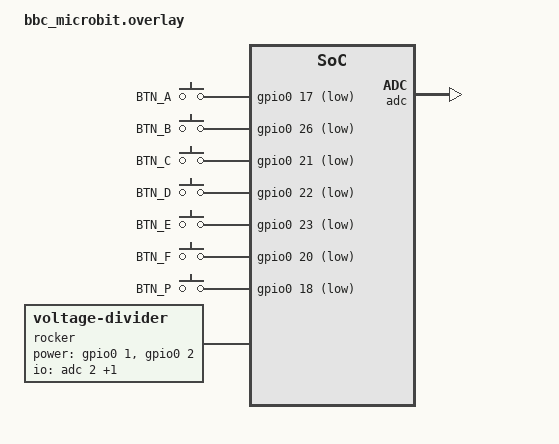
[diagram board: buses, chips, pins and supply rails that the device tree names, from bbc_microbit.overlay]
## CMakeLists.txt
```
# SPDX-License-Identifier: Apache-2.0

cmake_minimum_required(VERSION 3.13.1)
include($ENV{ZEPHYR_BASE}/cmake/app/boilerplate.cmake NO_POLICY_SCOPE)
project(peripheral)

target_sources(app PRIVATE
  src/main.c
  src/hid.c
  src/board.c
)

zephyr_library_include_directories($ENV{ZEPHYR_BASE}/samples/bluetooth)
```

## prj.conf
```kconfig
# Incresed stack due to settings API usage
CONFIG_SYSTEM_WORKQUEUE_STACK_SIZE=2048

CONFIG_LOG_STRDUP_MAX_STRING=50
CONFIG_LOG_STRDUP_BUF_COUNT=16
CONFIG_LOG_BUFFER_SIZE=2048

CONFIG_BT=y
CONFIG_BT_DEBUG_LOG=y
CONFIG_BT_SMP=y
CONFIG_BT_SIGNING=y
CONFIG_BT_PERIPHERAL=y
CONFIG_BT_DIS=y
CONFIG_BT_BAS=y
CONFIG_BT_ATT_PREPARE_COUNT=5
CONFIG_BT_PRIVACY=y
CONFIG_BT_DEVICE_NAME="Peripheral"
CONFIG_BT_DEVICE_APPEARANCE=833
CONFIG_BT_DEVICE_NAME_DYNAMIC=y
CONFIG_BT_DEVICE_NAME_MAX=65
CONFIG_BT_SETTINGS=y

CONFIG_FLASH=y
CONFIG_FLASH_PAGE_LAYOUT=y
CONFIG_FLASH_MAP=y
CONFIG_FCB=y
CONFIG_SETTINGS=y
CONFIG_SETTINGS_FCB=y
```

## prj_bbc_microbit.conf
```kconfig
CONFIG_ISR_STACK_SIZE=768
CONFIG_MAIN_STACK_SIZE=512
CONFIG_SYSTEM_WORKQUEUE_STACK_SIZE=2048
CONFIG_GPIO=y
CONFIG_DISPLAY=y
CONFIG_MICROBIT_DISPLAY=y
CONFIG_PWM=y
CONFIG_PWM_NRF5_SW=y
CONFIG_ADC=y
CONFIG_ADC_NRFX_ADC_CHANNEL_COUNT=2

CONFIG_BT=y
CONFIG_BT_SMP=n
CONFIG_BT_PERIPHERAL=y
CONFIG_BT_DIS=y
CONFIG_BT_BAS=y
CONFIG_BT_ATT_PREPARE_COUNT=0
CONFIG_BT_PRIVACY=n
CONFIG_BT_DEVICE_NAME="Joystick"
CONFIG_BT_DEVICE_APPEARANCE=963
CONFIG_BT_L2CAP_TX_BUF_COUNT=5
CONFIG_BT_SETTINGS=n
CONFIG_BT_PHY_UPDATE=n
CONFIG_BT_DATA_LEN_UPDATE=n
CONFIG_BT_CTLR_LE_ENC=n
CONFIG_BT_CTLR_LE_PING=n
CONFIG_BT_CTLR_CHAN_SEL_2=n
CONFIG_BT_CTLR_MIN_USED_CHAN=n
CONFIG_BT_CTLR_ADV_EXT=n
CONFIG_BT_CTLR_PRIVACY=n

CONFIG_FLASH=y
CONFIG_FLASH_PAGE_LAYOUT=y
CONFIG_FLASH_MAP=y
CONFIG_NVS=y
CONFIG_SETTINGS=y
```

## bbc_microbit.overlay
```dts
/ {
	gpio_keys {
		compatible = "gpio-keys";
		buttonA: button_0 {
			label = "BTN_A";
			gpios = <&gpio0 17 GPIO_ACTIVE_LOW>;
		};
		buttonB: button_1 {
			label = "BTN_B";
			gpios = <&gpio0 26 GPIO_ACTIVE_LOW>;
		};
		buttonC: button_2 {
			label = "BTN_C";
			gpios = <&gpio0 21 GPIO_ACTIVE_LOW>;
		};
		buttonD: button_3 {
			label = "BTN_D";
			gpios = <&gpio0 22 GPIO_ACTIVE_LOW>;
		};
		buttonE: button_4 {
			label = "BTN_E";
			gpios = <&gpio0 23 GPIO_ACTIVE_LOW>;
		};
		buttonF: button_5 {
			label = "BTN_F";
			gpios = <&gpio0 20 GPIO_ACTIVE_LOW>;
		};
		buttonP: button_6 {
			label = "BTN_P";
			gpios = <&gpio0 18 GPIO_ACTIVE_LOW>;
		};
	};

	rocker {
		compatible = "voltage-divider";
		io-channels = <&adc 2>, <&adc 3>;
		power-gpios = <&gpio0 1 0>, <&gpio0 2 0>;
		output-ohms = <180000>;
		full-ohms = <(1500000 + 180000)>;
	};

	aliases {
		sw0 = &buttonA;
		sw1 = &buttonB;
		sw2 = &buttonC;
		sw3 = &buttonD;
		sw4 = &buttonE;
		sw5 = &buttonF;
		sw6 = &buttonP;
	};
};

&adc {
	status = "okay";
};
```

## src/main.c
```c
/* main.c - Application main entry point */

/*
 * Copyright (c) 2015-2016 Intel Corporation
 *
 * SPDX-License-Identifier: Apache-2.0
 */

#include <zephyr/types.h>
#include <stddef.h>
#include <string.h>
#include <errno.h>
#include <sys/printk.h>
#include <sys/byteorder.h>
#include <zephyr.h>

#include <settings/settings.h>

#include <bluetooth/bluetooth.h>
#include <bluetooth/hci.h>
#include <bluetooth/conn.h>
#include <bluetooth/uuid.h>
#include <bluetooth/gatt.h>

#include "main.h"
#include "hid.h"
#include "board.h"

static void connected(struct bt_conn *conn, uint8_t err)
{
	int ret;
	char addr[BT_ADDR_LE_STR_LEN];
	struct bt_le_conn_param param = {
		.interval_min = 12,
		.interval_max = 16,
		.latency = 0,
		.timeout = 500,
	};

	if (err) {
		LOG_ERROR("Connection failed (err %u)", err);
		return;
	}

	bt_addr_le_to_str(bt_conn_get_dst(conn), addr, sizeof(addr));
	LOG_INFO("Connect index %u, address %s", bt_conn_index(conn), addr);
	hid_reset();

	ret = bt_conn_le_param_update(conn, &param);
	if (ret) {
		LOG_ERROR("Update parameter failed (err %d)", ret);
		return;
	}
}

static void disconnected(struct bt_conn *conn, uint8_t reason)
{
	LOG_INFO("Disconnect index %u (reason %u)", bt_conn_index(conn), reason);
}

static void param_updated(struct bt_conn *conn, uint16_t interval,
						uint16_t latency, uint16_t timeout)
{
	LOG_INFO("LE conn %d param updated: interval %d, timeout %d, latency %d",
			bt_conn_index(conn), interval, timeout, latency);
}

static void button_callback(button_t button, action_t action)
{
	switch (button) {
		case BOARD_BUTTON_KEY_A:
			LOG_INFO("Button A %s at %u", (BUTTON_ACTION_PREASSED == action) ? "pressed" : "released", k_cycle_get_32());
			break;
		case BOARD_BUTTON_KEY_B:
			LOG_INFO("Button B %s at %u", (BUTTON_ACTION_PREASSED == action) ? "pressed" : "released", k_cycle_get_32());
			break;
		case BOARD_BUTTON_KEY_C:
			LOG_INFO("Button C %s at %u", (BUTTON_ACTION_PREASSED == action) ? "pressed" : "released", k_cycle_get_32());
			break;
		case BOARD_BUTTON_KEY_D:
			LOG_INFO("Button D %s at %u", (BUTTON_ACTION_PREASSED == action) ? "pressed" : "released", k_cycle_get_32());
			break;
		case BOARD_BUTTON_KEY_E:
			LOG_INFO("Button E %s at %u", (BUTTON_ACTION_PREASSED == action) ? "pressed" : "released", k_cycle_get_32());
			break;
		case BOARD_BUTTON_KEY_F:
			LOG_INFO("Button F %s at %u", (BUTTON_ACTION_PREASSED == action) ? "pressed" : "released", k_cycle_get_32());
			break;
		case BOARD_BUTTON_KEY_P:
			LOG_INFO("Button P %s at %u", (BUTTON_ACTION_PREASSED == action) ? "pressed" : "released", k_cycle_get_32());
			break;
		default:
			break;
	}
}

static struct bt_conn_cb conn_callbacks = {
	.connected = connected,
	.disconnected = disconnected,
	.le_param_updated = param_updated,
};

static void bt_ready(int err)
{
	struct bt_data ad[] = {
		BT_DATA_BYTES(BT_DATA_FLAGS, (BT_LE_AD_GENERAL | BT_LE_AD_NO_BREDR)),
		BT_DATA_BYTES(BT_DATA_UUID16_ALL, 0x12, 0x18)
	};
	/* Set Scan Response data */
	struct bt_data sd[] = {
		BT_DATA_BYTES(BT_DATA_TX_POWER, 0x00),
		BT_DATA_BYTES(BT_DATA_GAP_APPEARANCE, CONFIG_BT_DEVICE_APPEARANCE & 0xFF, (CONFIG_BT_DEVICE_APPEARANCE >> 8) & 0xFF)
	};
	struct bt_le_adv_param param = {
		.id = BT_ID_DEFAULT,
		.options = BT_LE_ADV_OPT_CONNECTABLE | BT_LE_ADV_OPT_USE_NAME,
		.interval_min = BT_GAP_ADV_FAST_INT_MIN_2,
		.interval_max = BT_GAP_ADV_FAST_INT_MAX_2
	};

	if (err) {
		LOG_ERROR("Bluetooth init failed (err %d)", err);
		return;
	}

	LOG_INFO("Bluetooth initialized");

	if (IS_ENABLED(CONFIG_SETTINGS)) {
		settings_load();
	}

	/* Initilize services*/
	hid_init();

	err = bt_le_adv_start(&param, ad, ARRAY_SIZE(ad), sd, ARRAY_SIZE(sd));
	if (err) {
		LOG_ERROR("Advertising failed to start (err %d)", err);
		return;
	}

	LOG_INFO("Advertising successfully started");
}

void main(void)
{
	int err;

	LOG_INFO("Initializing ...");
	board_init(button_callback);

	err = bt_enable(bt_ready);
	if (err) {
		LOG_ERROR("Bluetooth init failed (err %d)", err);
		return;
	}

	bt_conn_cb_register(&conn_callbacks);

	/* Implement notification. At the moment there is no suitable way
	 * of starting delayed work so we do it here
	 */
	while (1) {
		k_msleep(50);
		board_button_scan();
		//LOG_INFO("Getting axis X value");
		//board_rocker_read(BOARD_ROCKER_AXIS_X);
		k_msleep(50);
		board_button_scan();
		//LOG_INFO("Getting axis Y value");
		//board_rocker_read(BOARD_ROCKER_AXIS_Y);
	}
}
```

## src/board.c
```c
/* board.c - Board Support Package */

/*
 * Copyright (c) 2015-2016 Intel Corporation
 *
 * SPDX-License-Identifier: Apache-2.0
 */

#include <zephyr.h>
#include <device.h>
#include <drivers/gpio.h>
#include <drivers/adc.h>
#include <sys/util.h>
#include <sys/printk.h>

#include "main.h"
#include "board.h"

#define BUTTON_A_NODE           DT_ALIAS(sw0)
#define BUTTON_B_NODE           DT_ALIAS(sw1)
#define BUTTON_C_NODE           DT_ALIAS(sw2)
#define BUTTON_D_NODE           DT_ALIAS(sw3)
#define BUTTON_E_NODE           DT_ALIAS(sw4)
#define BUTTON_F_NODE           DT_ALIAS(sw5)
#define BUTTON_P_NODE           DT_ALIAS(sw6)

#define ROCKER_NODE             DT_PATH(rocker)

typedef struct {
    const char *name;
    gpio_pin_t pin;
    gpio_flags_t flag;
    union {
        struct gpio_callback callback;
        int state;
    };
} button_key_t;

typedef struct {
    const char *adc_name;
    uint8_t adc_channel;
    uint8_t adc_index;
    const char *pin_name;
    gpio_pin_t pin;
    gpio_flags_t pin_flag;
} rocker_axis_t;

/* Button list with low latency */
static button_key_t btn_list_1[] = {
    {
        .name = DT_GPIO_LABEL(BUTTON_C_NODE, gpios),
        .pin = DT_GPIO_PIN(BUTTON_C_NODE, gpios),
        .flag = DT_GPIO_FLAGS(BUTTON_C_NODE, gpios),
    },
    {
        .name = DT_GPIO_LABEL(BUTTON_D_NODE, gpios),
        .pin = DT_GPIO_PIN(BUTTON_D_NODE, gpios),
        .flag = DT_GPIO_FLAGS(BUTTON_D_NODE, gpios),
    },
    {
        .name = DT_GPIO_LABEL(BUTTON_E_NODE, gpios),
        .pin = DT_GPIO_PIN(BUTTON_E_NODE, gpios),
        .flag = DT_GPIO_FLAGS(BUTTON_E_NODE, gpios),
    },
    {
        .name = DT_GPIO_LABEL(BUTTON_F_NODE, gpios),
        .pin = DT_GPIO_PIN(BUTTON_F_NODE, gpios),
        .flag = DT_GPIO_FLAGS(BUTTON_F_NODE, gpios),
    },
};
/* Button list with normal latency */
static button_key_t btn_list_2[] = {
    {
        .name = DT_GPIO_LABEL(BUTTON_A_NODE, gpios),
        .pin = DT_GPIO_PIN(BUTTON_A_NODE, gpios),
        .flag = DT_GPIO_FLAGS(BUTTON_A_NODE, gpios),
    },
    {
        .name = DT_GPIO_LABEL(BUTTON_B_NODE, gpios),
        .pin = DT_GPIO_PIN(BUTTON_B_NODE, gpios),
        .flag = DT_GPIO_FLAGS(BUTTON_B_NODE, gpios),
    },
    {
        .name = DT_GPIO_LABEL(BUTTON_P_NODE, gpios),
        .pin = DT_GPIO_PIN(BUTTON_P_NODE, gpios),
        .flag = DT_GPIO_FLAGS(BUTTON_P_NODE, gpios),
    }
};
/* Axis X of rocker */
static rocker_axis_t axis_x = {
    .adc_index = 0,
    .adc_name = DT_IO_CHANNELS_LABEL_BY_IDX(ROCKER_NODE, 0),
    .adc_channel = DT_IO_CHANNELS_INPUT_BY_IDX(ROCKER_NODE, 0),
    .pin_name = DT_GPIO_LABEL_BY_IDX(ROCKER_NODE, power_gpios, 0),
    .pin = DT_GPIO_PIN_BY_IDX(ROCKER_NODE, power_gpios, 0),
    .pin_flag = DT_GPIO_FLAGS_BY_IDX(ROCKER_NODE, power_gpios, 0),
};
/* Axis Y of rocker */
static rocker_axis_t axis_y = {
    .adc_index = 1,
    .adc_name = DT_IO_CHANNELS_LABEL_BY_IDX(ROCKER_NODE, 1),
    .adc_channel = DT_IO_CHANNELS_INPUT_BY_IDX(ROCKER_NODE, 1),
    .pin_name = DT_GPIO_LABEL_BY_IDX(ROCKER_NODE, power_gpios, 1),
    .pin = DT_GPIO_PIN_BY_IDX(ROCKER_NODE, power_gpios, 1),
    .pin_flag = DT_GPIO_FLAGS_BY_IDX(ROCKER_NODE, power_gpios, 1),
};
/* Global variable */
static board_button_callback g_button_callback;

static void board_button_handler(const struct device *dev, struct gpio_callback *cb,
		                    uint32_t pins)
{
    int ret;

    if (NULL == g_button_callback) {
        return;
    }

    switch (pins) {
        case BIT(DT_GPIO_PIN(BUTTON_A_NODE, gpios)):
            ret = gpio_pin_get(dev, DT_GPIO_PIN(BUTTON_A_NODE, gpios));
            if (ret < 0) {
                LOG_ERROR("Failed to get pin %d state (err %d)", DT_GPIO_PIN(BUTTON_A_NODE, gpios), ret);
            } else if (1 == ret) {
                g_button_callback(BOARD_BUTTON_KEY_A, BUTTON_ACTION_PREASSED);
            } else {
                g_button_callback(BOARD_BUTTON_KEY_A, BUTTON_ACTION_RELEASED);
            }
            break;
        case BIT(DT_GPIO_PIN(BUTTON_B_NODE, gpios)):
            ret = gpio_pin_get(dev, DT_GPIO_PIN(BUTTON_B_NODE, gpios));
            if (ret < 0) {
                LOG_ERROR("Failed to get pin %d state (err %d)", DT_GPIO_PIN(BUTTON_B_NODE, gpios), ret);
            } else if (1 == ret) {
                g_button_callback(BOARD_BUTTON_KEY_B, BUTTON_ACTION_PREASSED);
            } else {
                g_button_callback(BOARD_BUTTON_KEY_B, BUTTON_ACTION_RELEASED);
            }
            break;
        case BIT(DT_GPIO_PIN(BUTTON_C_NODE, gpios)):
            ret = gpio_pin_get(dev, DT_GPIO_PIN(BUTTON_C_NODE, gpios));
            if (ret < 0) {
                LOG_ERROR("Failed to get pin %d state (err %d)", DT_GPIO_PIN(BUTTON_C_NODE, gpios), ret);
            } else if (1 == ret) {
                g_button_callback(BOARD_BUTTON_KEY_C, BUTTON_ACTION_PREASSED);
            } else {
                g_button_callback(BOARD_BUTTON_KEY_C, BUTTON_ACTION_RELEASED);
            }
            break;
        case BIT(DT_GPIO_PIN(BUTTON_D_NODE, gpios)):
            ret = gpio_pin_get(dev, DT_GPIO_PIN(BUTTON_D_NODE, gpios));
            if (ret < 0) {
                LOG_ERROR("Failed to get pin %d state (err %d)", DT_GPIO_PIN(BUTTON_D_NODE, gpios), ret);
            } else if (1 == ret) {
                g_button_callback(BOARD_BUTTON_KEY_D, BUTTON_ACTION_PREASSED);
            } else {
                g_button_callback(BOARD_BUTTON_KEY_D, BUTTON_ACTION_RELEASED);
            }
            break;
        case BIT(DT_GPIO_PIN(BUTTON_E_NODE, gpios)):
            ret = gpio_pin_get(dev, DT_GPIO_PIN(BUTTON_E_NODE, gpios));
            if (ret < 0) {
                LOG_ERROR("Failed to get pin %d state (err %d)", DT_GPIO_PIN(BUTTON_E_NODE, gpios), ret);
            } else if (1 == ret) {
                g_button_callback(BOARD_BUTTON_KEY_E, BUTTON_ACTION_PREASSED);
            } else {
                g_button_callback(BOARD_BUTTON_KEY_E, BUTTON_ACTION_RELEASED);
            }
            break;
        case BIT(DT_GPIO_PIN(BUTTON_F_NODE, gpios)):
            ret = gpio_pin_get(dev, DT_GPIO_PIN(BUTTON_F_NODE, gpios));
            if (ret < 0) {
                LOG_ERROR("Failed to get pin %d state (err %d)", DT_GPIO_PIN(BUTTON_F_NODE, gpios), ret);
            } else if (1 == ret) {
                g_button_callback(BOARD_BUTTON_KEY_F, BUTTON_ACTION_PREASSED);
            } else {
                g_button_callback(BOARD_BUTTON_KEY_F, BUTTON_ACTION_RELEASED);
            }
            break;
        case BIT(DT_GPIO_PIN(BUTTON_P_NODE, gpios)):
            ret = gpio_pin_get(dev, DT_GPIO_PIN(BUTTON_P_NODE, gpios));
            if (ret < 0) {
                LOG_ERROR("Failed to get pin %d state (err %d)", DT_GPIO_PIN(BUTTON_P_NODE, gpios), ret);
            } else if (1 == ret) {
                g_button_callback(BOARD_BUTTON_KEY_P, BUTTON_ACTION_PREASSED);
            } else {
                g_button_callback(BOARD_BUTTON_KEY_P, BUTTON_ACTION_RELEASED);
            }
            break;
        default:
            LOG_WARNING("Unknown button %x", pins);
            break;
    }
}

static void board_button_init(button_key_t *p_button, bool low_latency)
{
    int err;
    const struct device *button;

    if (NULL == p_button) {
        LOG_ERROR("Invalid parameter");
        return;
    }

    button = device_get_binding(p_button->name);
    if (button == NULL) {
        LOG_ERROR("Cannot find %s device", p_button->name);
        return;
    }

    err = gpio_pin_configure(button,
                            p_button->pin,
                            p_button->flag | GPIO_INPUT);
    if (err) {
        LOG_ERROR("Failed to configure %s pin %d (err %d)",
                    p_button->name, p_button->pin, err);
        return;
    }

    if (low_latency) {
        err = gpio_pin_interrupt_configure(button,
                                        p_button->pin,
                                        GPIO_INT_EDGE_BOTH);
        if (err) {
            LOG_ERROR("Failed to configure interrupt on %s pin %d (err %d)",
                    p_button->name, p_button->pin, err);
            return;
        }

        gpio_init_callback(&p_button->callback, board_button_handler, BIT(p_button->pin));
        err = gpio_add_callback(button, &p_button->callback);
        if (err) {
            LOG_ERROR("Failed to add callback on %s (err %d)",
                        p_button->name, err);
            return;
        }
    } else {
        err = gpio_pin_get(button, p_button->pin);
        if (err < 0) {
            LOG_ERROR("Failed to get pin %d state (err %d)", p_button->pin, err);
            return;
        }
        p_button->state = err;
    }

    LOG_INFO("Set up button at %s pin %d", p_button->name, p_button->pin);
}

static void board_rocker_init(rocker_axis_t *p_axis)
{
    int err;
    const struct device *device;
    struct adc_channel_cfg adc_cfg = {0};

    device = device_get_binding(p_axis->pin_name);
    if (device == NULL) {
        LOG_ERROR("Cannot find %s GPIO device", p_axis->pin_name);
    }

    err = gpio_pin_configure(device, p_axis->pin, GPIO_OUTPUT_INACTIVE | p_axis->pin_flag);
    if (err) {
        LOG_ERROR("Failed to configure %s pin %d (err %d)",
                    p_axis->pin_name, p_axis->pin, err);
        return;
    }

    err = gpio_pin_set(device, p_axis->pin, true);
    if (err) {
        LOG_ERROR("Failed to set %s pin %d (err %d)",
                    p_axis->pin_name, p_axis->pin, err);
        return;
    }

    device = device_get_binding(p_axis->adc_name);
    if (device == NULL) {
        LOG_ERROR("Cannot find %s ADC device", p_axis->adc_name);
        return;
    }

    adc_cfg.gain = ADC_GAIN_1_3;
    adc_cfg.reference = ADC_REF_INTERNAL;
    adc_cfg.acquisition_time = ADC_ACQ_TIME_DEFAULT;
    adc_cfg.channel_id = p_axis->adc_index;
    adc_cfg.input_positive = BIT(p_axis->adc_channel);
    err = adc_channel_setup(device, &adc_cfg);
    if (err) {
        LOG_ERROR("Cannot setup %s ADC device (err %d)", p_axis->adc_name, err);
        return;
    }

    LOG_INFO("Set up Axis at %s pin %d", p_axis->adc_name, p_axis->adc_channel);
}

void board_init(board_button_callback callback)
{
    int index;

    /* Initialize all buttons */
    for (index = 0; index < ARRAY_SIZE(btn_list_1); ++index) {
        board_button_init(&btn_list_1[index], true);
    }
    for (index = 0; index < ARRAY_SIZE(btn_list_2); ++index) {
        board_button_init(&btn_list_2[index], false);
    }
    /* Initialize the rocker */
    board_rocker_init(&axis_x);
    board_rocker_init(&axis_y);

    g_button_callback = callback;
}

void board_button_scan(void)
{
    int index, err;
    const struct device *button;

    for (index = 0; index < ARRAY_SIZE(btn_list_2); ++index) {
        button = device_get_binding(btn_list_2[index].name);
        if (button == NULL) {
            LOG_ERROR("Cannot find %s device", btn_list_2[index].name);
            continue;
        }
        err = gpio_pin_get(button, btn_list_2[index].pin);
        if (err < 0) {
            LOG_ERROR("Failed to get pin %d state (err %d)", btn_list_2[index].pin, err);
            continue;
        }
        if (err != btn_list_2[index].state) {
            btn_list_2[index].state = err;
            board_button_handler(button, NULL, BIT(btn_list_2[index].pin));
        }
    }
}

int16_t board_rocker_read(axis_t axis)
{
    int err;
    int16_t raw_value;
    int32_t voltage;
    rocker_axis_t *p_rocker_axis;
    const struct device *device;
    struct adc_sequence adc_seq = {0};

    switch (axis) {
        case BOARD_ROCKER_AXIS_X:
            p_rocker_axis = &axis_x;
            break;
        case BOARD_ROCKER_AXIS_Y:
            p_rocker_axis = &axis_y;
            break;
        default:
            LOG_ERROR("Unknown axis %d", axis);
            return -1;
    }

    device = device_get_binding(p_rocker_axis->adc_name);
    if (device == NULL) {
        LOG_ERROR("Cannot find %s ADC device", axis_x.adc_name);
        return -1;
    }

    adc_seq.channels = BIT(p_rocker_axis->adc_index);
    adc_seq.buffer = &raw_value;
    adc_seq.buffer_size = sizeof(raw_value);
    adc_seq.resolution = 10;
    adc_seq.calibrate = true;
    err = adc_read(device, &adc_seq);
    if (err) {
        LOG_ERROR("Cannot read ADC device (err %d)", err);
        return -1;
    }

    voltage = raw_value;
    err = adc_raw_to_millivolts(adc_ref_internal(device), ADC_GAIN_1_3, adc_seq.resolution, &voltage);
    if (err) {
        LOG_ERROR("Cannot convert ADC value (err %d)", err);
        return -1;
    }

    LOG_INFO("ADC raw %d ~ %d mV", raw_value, voltage);
    return raw_value;
}
```

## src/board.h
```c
#ifndef __BOARD_H_
#define __BOARD_H_

#include <inttypes.h>
#include <zephyr.h>

typedef enum {
    BOARD_ROCKER_AXIS_X,
    BOARD_ROCKER_AXIS_Y,
} axis_t;

typedef enum {
    BOARD_BUTTON_KEY_A,
    BOARD_BUTTON_KEY_B,
    BOARD_BUTTON_KEY_C,
    BOARD_BUTTON_KEY_D,
    BOARD_BUTTON_KEY_E,
    BOARD_BUTTON_KEY_F,
    BOARD_BUTTON_KEY_P,
} button_t;

typedef enum {
    BUTTON_ACTION_PREASSED,
    BUTTON_ACTION_RELEASED,
} action_t;

typedef void (*board_button_callback)(button_t button, action_t action);

void board_init(board_button_callback callback);
void board_button_scan(void);
int16_t board_rocker_read(axis_t axis);

#endif
```

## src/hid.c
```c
/** @file
 *  @brief HoG Service sample
 */

/*
 * Copyright (c) 2016 Intel Corporation
 *
 * SPDX-License-Identifier: Apache-2.0
 */

#include <zephyr/types.h>
#include <stddef.h>
#include <string.h>
#include <errno.h>
#include <zephyr.h>

#include <bluetooth/bluetooth.h>
#include <bluetooth/hci.h>
#include <bluetooth/conn.h>
#include <bluetooth/uuid.h>
#include <bluetooth/gatt.h>

#include "main.h"

enum {
	HIDS_REMOTE_WAKE = BIT(0),
	HIDS_NORMALLY_CONNECTABLE = BIT(1),
};

struct hids_info {
	uint16_t version; /* version number of base USB HID Specification */
	uint8_t code; /* country HID Device hardware is localized for. */
	uint8_t flags;
} __packed;

struct hids_report {
	uint8_t id; /* report id */
	uint8_t type; /* report type */
} __packed;

enum {
	HIDS_INPUT = 0x01,
	HIDS_OUTPUT = 0x02,
	HIDS_FEATURE = 0x03,
};

enum {
	HIDS_PROTOCOL_MODE_BOOT = 0x00,
	HIDS_PROTOCOL_MODE_REPORT = 0x01,
};

enum {
	HIDS_HOST_STATE_SUSPEND = 0x00,
	HIDS_HOST_STATE_EXIT_SUSPEND = 0x01,
};

static struct hids_info info = {
	.version = 0x101,
	.code = 0x00, /* Not Supported */
	.flags = HIDS_REMOTE_WAKE | HIDS_NORMALLY_CONNECTABLE,
};

static uint8_t mode;

static struct hids_report input = {
	.id = 0x01,
	.type = HIDS_INPUT,
};

static uint8_t simulate_input;
static uint8_t ctrl_point;
static uint8_t report_map[] = {
	0x05, 0x01, /* Usage Page (Generic Desktop) */
	0x09, 0x04, /* Usage (Joystick) */
	0xA1, 0x01, /* Collection (Application) */
	0x05, 0x01, /*   Usage Page (Generic Desktop) */
	0x09, 0x01, /*   Usage (Pointer) */
	0xA1, 0x00, /*   Collection (Physical) */
	0x05, 0x09, /*     Usage Page (Button) */
	0x19, 0x01, /*     Usage Minimum (0x01) */
	0x29, 0x03, /*     Usage Maximum (0x03) */
	0x15, 0x00, /*     Logical Minimum (0) */
	0x25, 0x01, /*     Logical Maximum (1) */
	0x95, 0x03, /*     Report Count (3) */
	0x75, 0x01, /*     Report Size (1) */
	0x81, 0x02, /*     Input (Data,Var,Abs,No Wrap,Linear,...) */
	0x95, 0x01, /*     Report Count (1) */
	0x75, 0x05, /*     Report Size (5) */
	0x81, 0x03, /*     Input (Const,Var,Abs,No Wrap,Linear,...) */
	0x05, 0x01, /*     Usage Page (Generic Desktop Ctrls) */
	0x09, 0x30, /*     Usage (X) */
	0x09, 0x31, /*     Usage (Y) */
	0x15, 0x81, /*     Logical Minimum (129) */
	0x25, 0x7F, /*     Logical Maximum (127) */
	0x75, 0x08, /*     Report Size (8) */
	0x95, 0x02, /*     Report Count (2) */
	0x81, 0x06, /*     Input (Data,Var,Rel,No Wrap,Linear,...) */
	0xC0,       /*   End Collection */
	0xC0,       /* End Collection */
};

static ssize_t read_info(struct bt_conn *conn,
			  const struct bt_gatt_attr *attr, void *buf,
			  uint16_t len, uint16_t offset)
{
	return bt_gatt_attr_read(conn, attr, buf, len, offset, attr->user_data, sizeof(info));
}

static ssize_t read_mode(struct bt_conn *conn,
			  const struct bt_gatt_attr *attr, void *buf,
			  uint16_t len, uint16_t offset)
{
	return bt_gatt_attr_read(conn, attr, buf, len, offset, attr->user_data, sizeof(mode));
}

static ssize_t write_mode(struct bt_conn *conn,
			  const struct bt_gatt_attr *attr, const void *buf, uint16_t len,
			  uint16_t offset, uint8_t flags)
{
	uint8_t *value = attr->user_data;

	if (offset + len > sizeof(mode)) {
		return BT_GATT_ERR(BT_ATT_ERR_INVALID_OFFSET);
	}

	memcpy(value + offset, buf, len);
	if (HIDS_PROTOCOL_MODE_BOOT != mode && HIDS_PROTOCOL_MODE_REPORT != mode) {
		LOG_ERROR("Unknown protocal mode %d", mode);
		mode = HIDS_PROTOCOL_MODE_REPORT;
	}
	LOG_INFO("Current mode is %s", (HIDS_PROTOCOL_MODE_BOOT == mode) ? "boot" : "report");

	return len;
}

static ssize_t read_report_map(struct bt_conn *conn,
			       const struct bt_gatt_attr *attr, void *buf,
			       uint16_t len, uint16_t offset)
{
	return bt_gatt_attr_read(conn, attr, buf, len, offset, attr->user_data, sizeof(report_map));
}

static ssize_t read_report(struct bt_conn *conn,
			   const struct bt_gatt_attr *attr, void *buf,
			   uint16_t len, uint16_t offset)
{
	return bt_gatt_attr_read(conn, attr, buf, len, offset, attr->user_data,
				 sizeof(struct hids_report));
}

static void input_ccc_changed(const struct bt_gatt_attr *attr, uint16_t value)
{
	simulate_input = (value == BT_GATT_CCC_NOTIFY) ? 1 : 0;
}

static ssize_t read_input_report(struct bt_conn *conn,
				 const struct bt_gatt_attr *attr, void *buf,
				 uint16_t len, uint16_t offset)
{
	return bt_gatt_attr_read(conn, attr, buf, len, offset, NULL, 0);
}

static ssize_t write_ctrl_point(struct bt_conn *conn,
				const struct bt_gatt_attr *attr,
				const void *buf, uint16_t len, uint16_t offset,
				uint8_t flags)
{
	uint8_t *value = attr->user_data;

	if (offset + len > sizeof(ctrl_point)) {
		return BT_GATT_ERR(BT_ATT_ERR_INVALID_OFFSET);
	}

	memcpy(value + offset, buf, len);
	if (HIDS_HOST_STATE_SUSPEND != ctrl_point && HIDS_HOST_STATE_EXIT_SUSPEND != ctrl_point) {
		LOG_WARNING("Unknown control command %d", ctrl_point);
		ctrl_point = HIDS_HOST_STATE_EXIT_SUSPEND;
	}
	LOG_INFO("HID Host is %s the Suspend State", (HIDS_HOST_STATE_SUSPEND == ctrl_point) ? "entering" : "exiting");

	return len;
}

/* HID Service Declaration */
BT_GATT_SERVICE_DEFINE(hid_svc,
	BT_GATT_PRIMARY_SERVICE(BT_UUID_HIDS),
	BT_GATT_CHARACTERISTIC(BT_UUID_HIDS_INFO, BT_GATT_CHRC_READ,
					BT_GATT_PERM_READ, read_info, NULL, &info),
	BT_GATT_CHARACTERISTIC(BT_UUID_HIDS_PROTOCOL_MODE, BT_GATT_CHRC_READ | BT_GATT_CHRC_WRITE_WITHOUT_RESP,
					BT_GATT_PERM_READ | BT_GATT_PERM_WRITE, read_mode, write_mode, &mode),
	BT_GATT_CHARACTERISTIC(BT_UUID_HIDS_REPORT_MAP, BT_GATT_CHRC_READ,
					BT_GATT_PERM_READ, read_report_map, NULL, report_map),
	BT_GATT_CHARACTERISTIC(BT_UUID_HIDS_REPORT,
					BT_GATT_CHRC_READ | BT_GATT_CHRC_NOTIFY,
					BT_GATT_PERM_READ_AUTHEN,
					read_input_report, NULL, NULL),
	BT_GATT_CCC(input_ccc_changed, BT_GATT_PERM_READ | BT_GATT_PERM_WRITE),
	BT_GATT_DESCRIPTOR(BT_UUID_HIDS_REPORT_REF, BT_GATT_PERM_READ,
					read_report, NULL, &input),
	BT_GATT_CHARACTERISTIC(BT_UUID_HIDS_CTRL_POINT,
					BT_GATT_CHRC_WRITE_WITHOUT_RESP,
					BT_GATT_PERM_WRITE,
					NULL, write_ctrl_point, &ctrl_point),
);

void hid_reset(void)
{
	mode = HIDS_PROTOCOL_MODE_REPORT;
	ctrl_point = HIDS_HOST_STATE_EXIT_SUSPEND;
}

void hid_init(void)
{
	LOG_INFO("Registering HID service successfully");
}
```

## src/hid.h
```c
/** @file
 *  @brief HoG Service sample
 */

/*
 * Copyright (c) 2016 Intel Corporation
 *
 * SPDX-License-Identifier: Apache-2.0
 */
#ifndef __HID_H_
#define __HID_H_

#ifdef __cplusplus
extern "C" {
#endif

void hid_init(void);
void hid_reset(void);

#ifdef __cplusplus
}
#endif

#endif
```

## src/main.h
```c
#ifndef __MAIN_H_
#define __MAIN_H_

#define LOG_COLOR_DEFAULT      "\x1B[0m"
#define LOG_COLOR_BLACK        "\x1B[1;30m"
#define LOG_COLOR_RED          "\x1B[1;31m"
#define LOG_COLOR_GREEN        "\x1B[1;32m"
#define LOG_COLOR_YELLOW       "\x1B[1;33m"
#define LOG_COLOR_BLUE         "\x1B[1;34m"
#define LOG_COLOR_MAGENTA      "\x1B[1;35m"
#define LOG_COLOR_CYAN         "\x1B[1;36m"
#define LOG_COLOR_WHITE        "\x1B[1;37m"

#define LOG_ERROR(_fmt_, ...)                       printk(LOG_COLOR_RED "[E] " _fmt_ "\n", ##__VA_ARGS__)
#define LOG_WARNING(_fmt_, ...)                     printk(LOG_COLOR_YELLOW "[W] " _fmt_ "\n", ##__VA_ARGS__)
#define LOG_INFO(_fmt_, ...)                        printk(LOG_COLOR_BLUE "[I] " _fmt_ "\n", ##__VA_ARGS__)
#define LOG_DEBUG(_fmt_, ...)                       printk(LOG_COLOR_DEFAULT "[D] " _fmt_ "\n", ##__VA_ARGS__)

#endif
```
